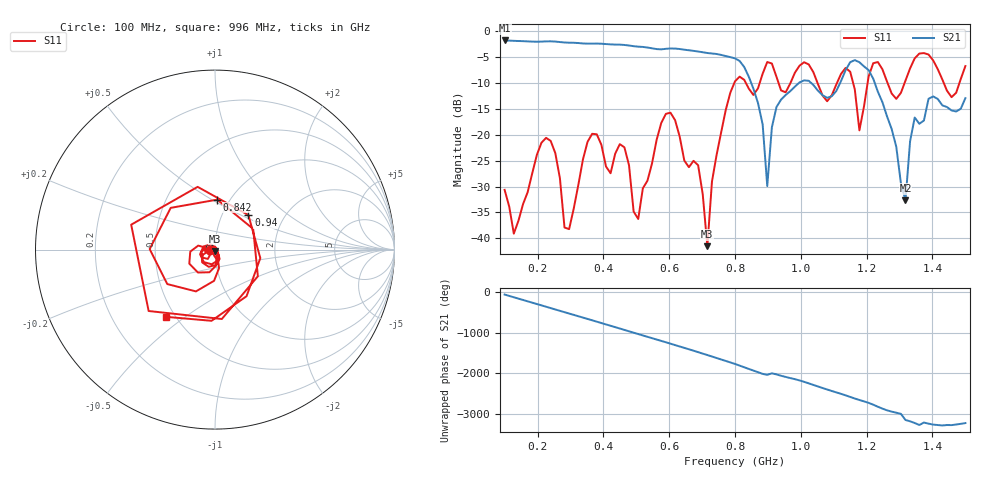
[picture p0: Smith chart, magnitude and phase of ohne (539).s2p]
! NanoVNA-App
! Date: 2025-09-25 14:25:00
! Start: 100MHz Stop: 1,5GHz Points: 101
! S-Parameter data: F S11 S21 S12 S22
# Hz S RI R 50
!  Frequency  S11_Real  S11_Imag  S21_Real  S21_Imag  S12_Real  S12_Imag  S22_Real  S22_Imag
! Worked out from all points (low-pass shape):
!   101 points, 100 MHz to 1.5 GHz, reference 50 ohm
!   highest |S21| = -1.79 dB at 100 MHz (marker M1); lowest = -32.7 dB at 1.318 GHz (marker M2)
!   |S21| within 3 dB of the highest: start of sweep to 771.1 MHz
!   lowest |S11| = -41.5 dB at 716 MHz (marker M3), VSWR 1.02, Z = 49.8 - j0.816 ohm
!   |S11| at or under -10 dB: start of sweep to 797.9 MHz; 833 MHz to 875.1 MHz (42.09 MHz wide, 4.93 % of centre); 1.051 GHz to 1.11 GHz (59.15 MHz wide, 5.48 % of centre) (the widest 3 of 7)
!   S12 and S22 are empty: the file has one direction only
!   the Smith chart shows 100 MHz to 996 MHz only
!   S11 on the Smith chart (normalised r, x): 100 MHz: 0.94, -0.01; 842 MHz: 0.88, +0.53; 940 MHz: 1.33, +0.55; 996 MHz: 0.44, -0.42
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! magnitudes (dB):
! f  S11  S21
! 100 MHz  -30.6  -1.8
! 128 MHz  -39.1  -1.9
! 226 MHz  -20.6  -2.0
! 296 MHz  -38.2  -2.2
! 338 MHz  -24.8  -2.4
! 464 MHz  -22.4  -2.7
! 506 MHz  -36.3  -3.0
! 576 MHz  -17.7  -3.5
! 688 MHz  -25.9  -3.9
! 716 MHz  -41.5  -4.2
! 800 MHz  -9.7  -5.3
! 842 MHz  -11.1  -8.8
! 898 MHz  -6.0  -29.9
! 940 MHz  -11.4  -13.2
! 996 MHz  -6.7  -9.9
! 1.038 GHz  -7.9  -10.4
! 1.178 GHz  -19.2  -6.0
! 1.22 GHz  -6.2  -9.2
! 1.276 GHz  -12.0  -18.9
! 1.318 GHz  -9.5  -32.7
! 1.346 GHz  -5.3  -16.7
! 1.5 GHz  -6.7  -12.9
